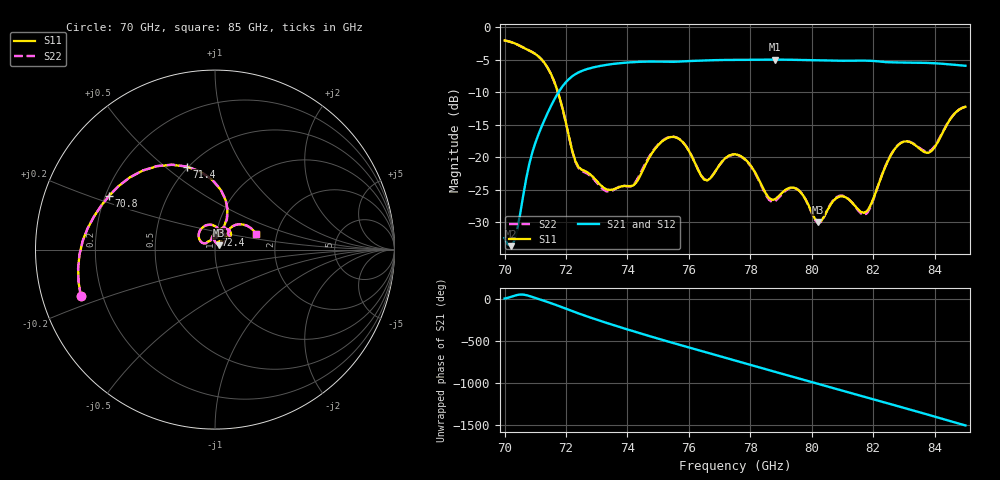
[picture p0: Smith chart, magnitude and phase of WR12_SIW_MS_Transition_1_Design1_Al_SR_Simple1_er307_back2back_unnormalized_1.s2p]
! Touchstone file exported from HFSS 2020.1.3
!  File:  /home/erdoel/scratch/P2S30/WR12_SIW_MS_Transition_1.aedt
!  Generated:  8:49:42 AM  Feb 20, 2021
!  Design:  Design1_Al_SR_Simple1_er307_back2back
!  Project:  WR12_SIW_MS_Transition_1
!  Setup:  Setup1
!  Solution:  Sweep
! Variables:
!  T_L2 = 35um
!  fil = 0.3mm
!  hm = 0.36mm
!  hsub = 0.127mm
!  hwg = 1.55mm
!  l1 = 1.05mm
!  lcav = 1.92mm
!  len50 = 12.48mm
!  lt = 0.7mm
!  offx = 0um
!  offy = 0um
!  rvia = 0.075mm
!  s1 = 1.33mm
!  shift = 20um
!  sl = 3.1mm
!  sy = 0.65mm
!  th = 35um
!  w1 = 1.17mm
!  w50 = 300um
!  wcav = 3.45mm
!  wm = 1.9mm
!  wslot = 1.5mm
!  wt = 0.6mm
!  wwg = 3.1mm
!Data is not renormalized
# GHZ S MA
! Terminal data exported
! Port[1] = WG
! Port[2] = WG1
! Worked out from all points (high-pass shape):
!   151 points, 70 GHz to 85 GHz, reference per port
!   highest |S21| = -4.97 dB at 78.8 GHz (marker M1); lowest = -33.6 dB at 70.2 GHz (marker M2)
!   |S21| within 3 dB of the highest: 72.09 GHz to end of sweep
!   lowest |S11| = -29.9 dB at 80.2 GHz (marker M3), VSWR 1.07
!   |S11| at or under -10 dB: 71.73 GHz to end of sweep
!   |S22| runs from -30.1 to -2.0 dB; largest |S21 - S12| = 1e-14
!   S11 on the Smith chart (normalised r, x): 70 GHz: 0.12, -0.17; 70.8 GHz: 0.21, +0.23; 71.4 GHz: 0.49, +0.60; 72.4 GHz: 0.99, +0.17; 85 GHz: 1.56, +0.28
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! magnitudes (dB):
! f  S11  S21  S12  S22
! 70 GHz  -2.0  -32.4  -32.4  -2.0
! 70.2 GHz  -2.3  -33.6  -33.6  -2.3
! 70.8 GHz  -3.6  -21.1  -21.1  -3.6
! 71.4 GHz  -6.2  -13.2  -13.2  -6.2
! 72.4 GHz  -21.5  -7.0  -7.0  -21.6
! 72.5 GHz  -21.9  -6.7  -6.7  -22.0
! 73.3 GHz  -24.9  -5.8  -5.8  -25.2
! 74.1 GHz  -24.4  -5.4  -5.4  -24.5
! 75 GHz  -18.1  -5.3  -5.3  -18.0
! 75.7 GHz  -17.2  -5.3  -5.3  -17.2
! 76.6 GHz  -23.5  -5.1  -5.1  -23.5
! 77.5 GHz  -19.5  -5.0  -5.0  -19.6
! 78.8 GHz  -26.4  -5.0  -5.0  -26.7
! 79.5 GHz  -24.8  -5.0  -5.0  -24.8
! 80 GHz  -28.5  -5.1  -5.1  -28.6
! 80.2 GHz  -29.9  -5.1  -5.1  -30.1
! 80.9 GHz  -26.0  -5.2  -5.2  -25.9
! 81.8 GHz  -28.2  -5.1  -5.1  -28.6
! 82.5 GHz  -20.3  -5.4  -5.4  -20.3
! 83 GHz  -17.6  -5.4  -5.4  -17.6
! 83.9 GHz  -19.0  -5.5  -5.5  -18.8
! 85 GHz  -12.2  -5.9  -5.9  -12.2
